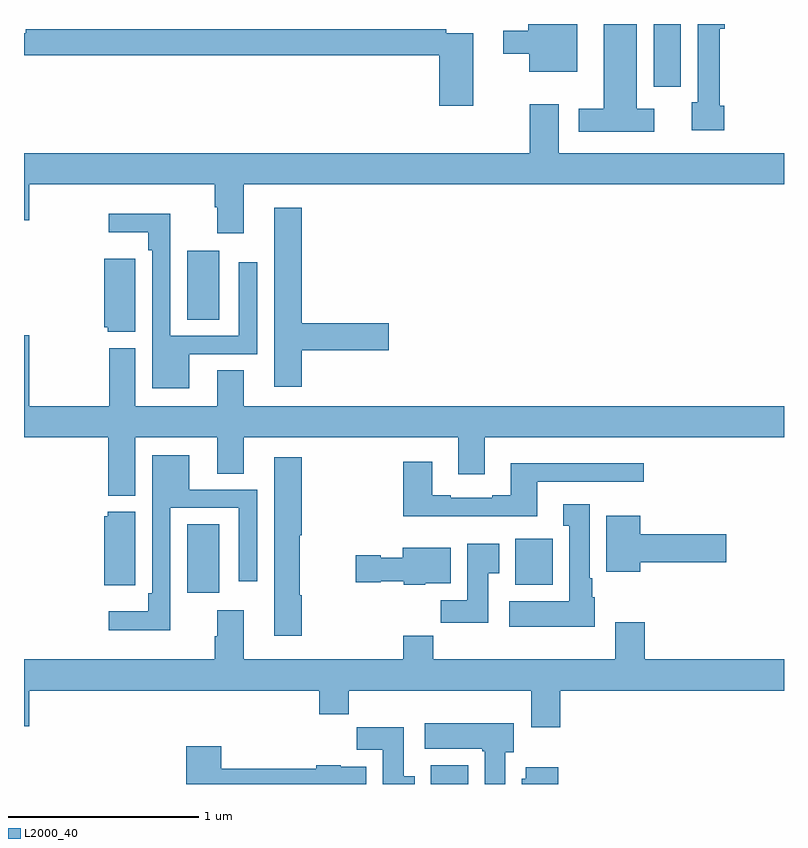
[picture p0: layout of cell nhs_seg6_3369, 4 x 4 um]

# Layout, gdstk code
import gdstk
lib = gdstk.Library(unit=1e-6, precision=1e-09)
def R(c, l, rs):  # rectangles x0, y0, x1, y1
    for r in rs: c.add(gdstk.rectangle(r[:2], r[2:], *l))
def P(c, l, *ps):  # polygons
    for p in ps: c.add(gdstk.Polygon(p, *l))
L2000_40 = (2000, 40)

nhs_seg6_3369 = lib.new_cell('nhs_seg6_3369')
R(nhs_seg6_3369, L2000_40, [(311.141,957.5,311.338,957.598), (309.86,958.506,310.027,958.868), (311.585,958.55,311.782,958.792), (309.86,959.944,310.027,960.307), (312.314,961.17,312.457,961.5)])
P(nhs_seg6_3369, L2000_40, [(311.911,961.5),(311.653,961.5),(311.653,961.465),(311.523,961.465),(311.523,961.343),(311.66,961.343),(311.66,961.25),(311.911,961.25)],
  [(312.686,961.071),(312.662,961.071),(312.662,961.475),(312.689,961.475),(312.689,961.5),(312.546,961.5),(312.546,961.089),(312.515,961.089),(312.515,960.941),(312.686,960.941)],
  [(312.316,961.054),(312.226,961.054),(312.226,961.5),(312.05,961.5),(312.05,961.054),(311.919,961.054),(311.919,960.932),(312.316,960.932)],
  [(311.364,961.452),(311.222,961.452),(311.222,961.472),(309.01,961.472),(309.01,961.452),(309,961.452),(309,961.336),(311.186,961.336),(311.186,961.071),(311.364,961.071)],
  [(310.156,960.656),(313,960.656),(313,960.82),(311.815,960.82),(311.815,961.078),(311.663,961.078),(311.663,960.82),(309,960.82),(309,960.468),(309.028,960.468),(309.028,960.656),(310.004,960.656),(310.004,960.536),(310.016,960.536),(310.016,960.399),(310.156,960.399)],
  [(310.463,959.782),(310.921,959.782),(310.921,959.924),(310.463,959.924),(310.463,960.532),(310.316,960.532),(310.316,959.592),(310.463,959.592)],
  [(309.871,959.763),(310.227,959.763),(310.227,960.247),(310.131,960.247),(310.131,959.859),(309.771,959.859),(309.771,960.502),(309.447,960.502),(309.447,960.404),(309.655,960.404),(309.655,960.308),(309.675,960.308),(309.675,959.582),(309.871,959.582)],
  [(309.586,960.265),(309.422,960.265),(309.422,959.904),(309.441,959.904),(309.441,959.879),(309.586,959.879)],
  [(309.586,959.324),(310.016,959.324),(310.016,959.134),(310.156,959.134),(310.156,959.324),(311.285,959.324),(311.285,959.13),(311.425,959.13),(311.425,959.324),(313,959.324),(313,959.488),(310.156,959.488),(310.156,959.678),(310.016,959.678),(310.016,959.488),(309.586,959.488),(309.586,959.794),(309.448,959.794),(309.448,959.488),(309.028,959.488),(309.028,959.863),(309,959.863),(309,959.324),(309.443,959.324),(309.443,959.018),(309.586,959.018)],
  [(309.771,958.953),(310.131,958.953),(310.131,958.566),(310.227,958.566),(310.227,959.049),(309.871,959.049),(309.871,959.23),(309.675,959.23),(309.675,958.504),(309.655,958.504),(309.655,958.408),(309.447,958.408),(309.447,958.31),(309.771,958.31)],
  [(310.463,958.493),(310.45,958.493),(310.45,958.808),(310.463,958.808),(310.463,959.221),(310.316,959.221),(310.316,958.281),(310.463,958.281)],
  [(311.701,959.091),(312.262,959.091),(312.262,959.188),(311.561,959.188),(311.561,959.02),(311.465,959.02),(311.465,959.007),(311.245,959.007),(311.245,959.02),(311.149,959.02),(311.149,959.197),(310.997,959.197),(310.997,958.91),(311.701,958.91)],
  [(312.004,958.482),(311.992,958.482),(311.992,958.582),(311.977,958.582),(311.977,958.972),(311.837,958.972),(311.837,958.859),(311.87,958.859),(311.87,958.462),(311.553,958.462),(311.553,958.328),(312.004,958.328)],
  [(309.586,958.933),(309.441,958.933),(309.441,958.908),(309.422,958.908),(309.422,958.547),(309.586,958.547)],
  [(312.244,958.667),(312.697,958.667),(312.697,958.814),(312.244,958.814),(312.244,958.912),(312.065,958.912),(312.065,958.616),(312.244,958.616)],
  [(311.443,958.609),(311.5,958.609),(311.5,958.765),(311.333,958.765),(311.333,958.468),(311.194,958.468),(311.194,958.35),(311.443,958.35)],
  [(311.112,958.556),(311.245,958.556),(311.245,958.744),(310.994,958.744),(310.994,958.69),(310.878,958.69),(310.878,958.703),(310.746,958.703),(310.746,958.561),(310.878,958.561),(310.878,958.568),(310.998,958.568),(310.998,958.55),(311.112,958.55)],
  [(311.822,957.992),(313,957.992),(313,958.156),(312.266,958.156),(312.266,958.351),(312.113,958.351),(312.113,958.156),(311.153,958.156),(311.153,958.28),(310.997,958.28),(310.997,958.156),(310.156,958.156),(310.156,958.414),(310.016,958.414),(310.016,958.277),(310.004,958.277),(310.004,958.156),(309,958.156),(309,957.804),(309.028,957.804),(309.028,957.992),(310.553,957.992),(310.553,957.868),(310.709,957.868),(310.709,957.992),(311.669,957.992),(311.669,957.798),(311.822,957.798)],
  [(311.533,957.666),(311.578,957.666),(311.578,957.82),(311.109,957.82),(311.109,957.686),(311.413,957.686),(311.413,957.673),(311.426,957.673),(311.426,957.5),(311.533,957.5)],
  [(311.056,957.54),(310.999,957.54),(310.999,957.799),(310.75,957.799),(310.75,957.68),(310.889,957.68),(310.889,957.5),(311.056,957.5)],
  [(310.801,957.592),(310.668,957.592),(310.668,957.598),(310.538,957.598),(310.538,957.58),(310.037,957.58),(310.037,957.7),(309.854,957.7),(309.854,957.5),(310.801,957.5)],
  [(311.813,957.589),(311.642,957.589),(311.642,957.528),(311.621,957.528),(311.621,957.5),(311.813,957.5)])

lib.write_gds('nhs_seg6_3369.gds')
